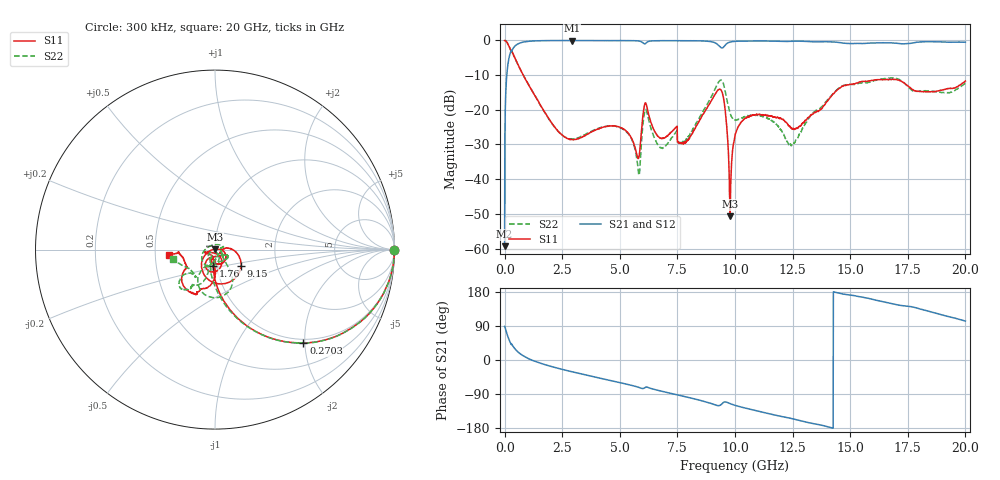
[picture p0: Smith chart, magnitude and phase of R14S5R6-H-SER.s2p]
!{R14S5R6}
!Johanson Technology Inc.
!www.johansontechnology.com
!Test Board Conditions:
!Substrate Type  RO4350B
!Substrate Thickness  20 mil
!Substrate Dk  3.66
!TL Type: GCPW
!TL Trace Width  36 mil
!TL Gap  12 mil
!Electrode orientation  Horizontal
!DUT TOPOLOGY	SERIES
!Mounting Pad LxW  26x36 mil
! Created Wed Nov 25 17:33:21 2020
! 2 Port Network Data from SP1.SP block
! freq  magS11  angS11  magS21  angS21  magS12  angS12  magS22  angS22
# khz S ma R 50
! decimated to every 10th point (10 MHz spacing) of the original 1 MHz Johanson file; values unchanged
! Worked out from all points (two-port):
!   2001 points, 300 kHz to 20 GHz, reference 50 ohm
!   highest |S21| = -0.02 dB at 2.92 GHz (marker M1); lowest = -59.3 dB at 300 kHz (marker M2)
!   |S21| within 3 dB of the highest: 281 MHz to 295.3 MHz (14.24 MHz wide, 4.94 % of centre); 309.5 MHz to end of sweep
!   lowest |S11| = -50.7 dB at 9.78 GHz (marker M3), VSWR 1.01, Z = 49.9 + j0.261 ohm
!   |S11| at or under -10 dB: 808.8 MHz to end of sweep
!   |S22| runs from -38.8 to 0.0 dB; largest |S21 - S12| = 0.017
!   S11 on the Smith chart (normalised r, x): 300 kHz: open; 270.3 MHz: 0.92, -1.97; 1.76 GHz: 0.97, -0.17; 9.15 GHz: 1.31, -0.24; 20 GHz: 0.59, -0.03
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300  0.9956 -0.2  0.001081 88.7  0.001026 92.0  0.9952 -0.2
110300  0.9306 -22.5  0.3623 67.4  0.3634 67.3  0.9305 -22.4
270300  0.7168 -46.6  0.6914 43.0  0.6928 43.1  0.7176 -46.6
760300  0.3396 -76.4  0.9378 12.8  0.9381 12.8  0.3404 -77.3
1760300  0.08976 -96.3  0.9936 -12.4  0.994 -12.4  0.08937 -107.0
2920300  0.03726 -117.6  0.9976 -31.0  0.9971 -30.9  0.03801 -122.2
3340300  0.0399 -135.9  0.9969 -37.0  0.996 -36.9  0.04152 -116.5
5070300  0.05505 -165.1  0.993 -60.7  0.9937 -60.7  0.05426 -133.3
5810300  0.01987 -100.4  0.9838 -72.0  0.9835 -72.0  0.01233 -121.9
6140300  0.1221 -108.5  0.9173 -71.4  0.9176 -71.4  0.09921 -129.3
6670300  0.04114 -102.2  0.9915 -80.3  0.9905 -80.3  0.03099 129.9
7900300  0.03527 -9.5  0.9895 -97.7  0.9888 -97.7  0.0377 -19.8
9150300  0.17 -31.6  0.9183 -118.8  0.9197 -118.7  0.2045 -61.6
9500300  0.1484 -115.3  0.7997 -112.0  0.8002 -111.9  0.2362 -110.9
9780300  0.002906 115.7  0.9463 -114.9  0.9472 -114.9  0.09084 -112.5
1.00003e7  0.04169 -7.1  0.9696 -119.5  0.9699 -119.5  0.07063 -82.0
1.08403e7  0.084 -57.6  0.9831 -132.7  0.9819 -132.6  0.08409 -33.7
1.24103e7  0.05645 -110.4  0.9716 -153.9  0.9734 -153.8  0.03214 -50.8
1.33403e7  0.0858 -92.8  0.9583 -167.3  0.9593 -167.3  0.08645 -106.3
1.46803e7  0.2175 -102.9  0.9176 174.2  0.9169 174.0  0.2232 -117.5
1.66703e7  0.2705 -118.6  0.9256 150.3  0.9187 150.1  0.2873 -129.6
2e7  0.2594 -173.9  0.941 102.8  0.9395 103.0  0.2414 -167.1
